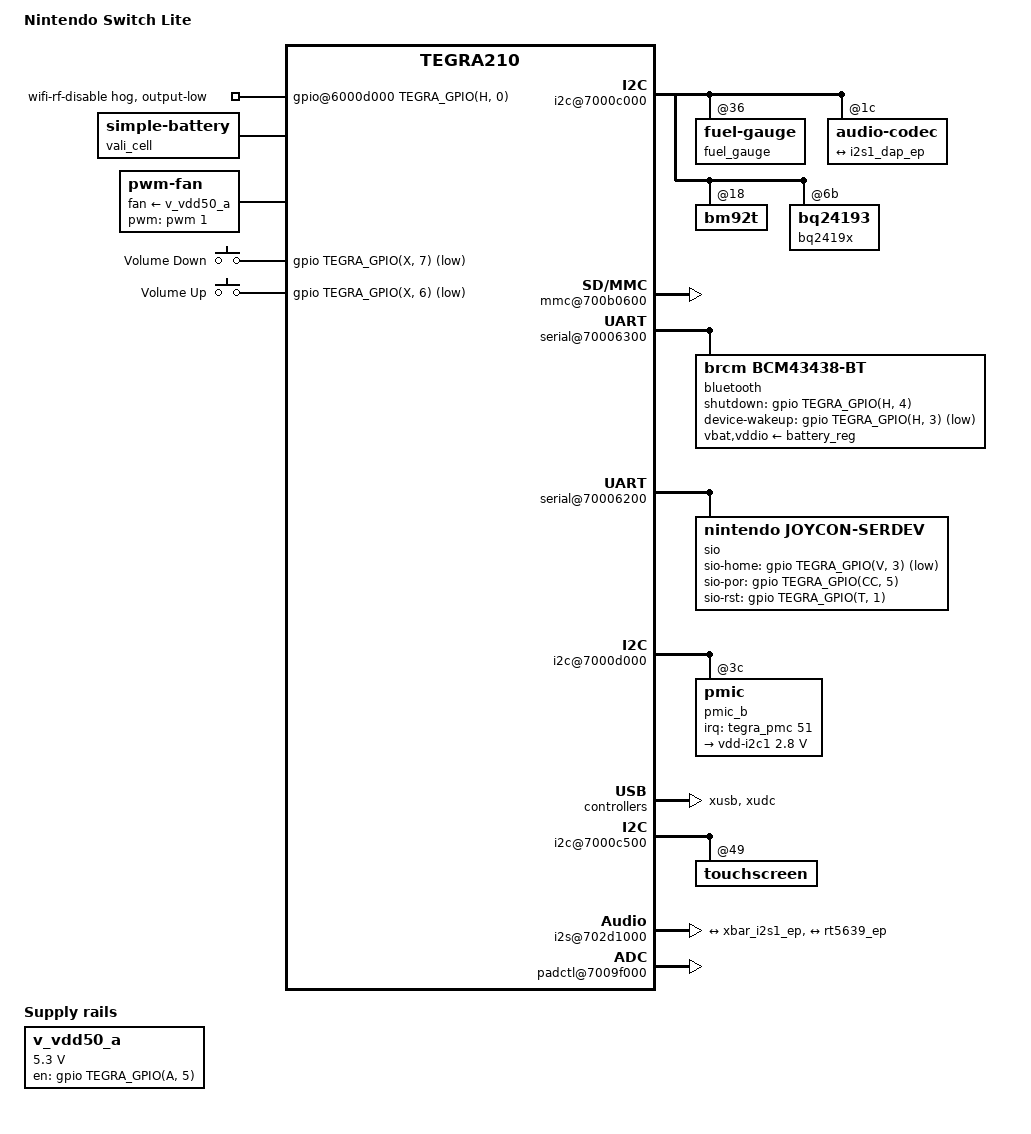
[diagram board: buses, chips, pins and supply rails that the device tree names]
// SPDX-License-Identifier: GPL-2.0
/dts-v1/;

#include <dt-bindings/input/linux-event-codes.h>

#include "tegra210b01-nx.dtsi"

/ {
	model = "Nintendo Switch Lite";
	compatible = "nvidia,vali", "nintendo,hoag", "nintendo,nx", "nvidia,tegra210b01", "nvidia,tegra210";

	i2c@7000c000 {
		fuel-gauge@36 {
			/* The gauge's status needs the charger power-supply relation. */
			power-supplies = <&{/i2c@7000c000/bq24193@6b}>;
		};
	};

	actmon@6000c800 {
		operating-points-v2 = <&vali_emc_bw_opp_table>;
	};

	gpu@57000000 {
		interconnects = <&mc TEGRA210_MC_GPUSRD &emc>,
				<&mc TEGRA210_MC_GPUSWR &emc>,
				<&mc TEGRA210_MC_GPUSRD2 &emc>,
				<&mc TEGRA210_MC_GPUSWR2 &emc>;
		interconnect-names = "dma-mem", "write-0", "read-1", "write-1";
	};

	/* Frequencies reported by this Lite's BPMP, retaining RAM2533. */
	vali_emc_bw_opp_table: opp-table-actmon-vali {
		compatible = "operating-points-v2";

		opp-204000000 {
			opp-hz = /bits/ 64 <204000000>;
			opp-peak-kBps = <3264000>;
			opp-supported-hw = <0x4>;
		};
		opp-1331200000 {
			opp-hz = /bits/ 64 <1331200000>;
			opp-peak-kBps = <21299200>;
			opp-supported-hw = <0x4>;
		};
		opp-1600000000 {
			opp-hz = /bits/ 64 <1600000000>;
			opp-peak-kBps = <25600000>;
			opp-supported-hw = <0x4>;
		};
		opp-2533000000 {
			opp-hz = /bits/ 64 <2533000000>;
			opp-peak-kBps = <40528000>;
			opp-supported-hw = <0x4>;
		};
	};

	/* serial-tegra refuses a port without an alias. */
	aliases {
		mmc0 = "/mmc@700b0000";
		mmc1 = "/mmc@700b0600";
		serial2 = &uartc;
		serial3 = &uartd;
	};

	/* eMMC, owner 02.11: visible for the swap partition of lean1018 only. boot.scr emmc=1 would also move the kernel load to eMMC, so emmc stays 0 in the ini. prep-fedora.sh sets the chip read-only. */
	mmc@700b0600 {
		status = "okay";
	};

	/*
	 * SD in DDR200 as on L4T/lean: the host clock is twice the card clock,
	 * 998.4/2.5 = 399.36 MHz from PLL_C4_OUT0, like lean. PLL_C4 keeps its
	 * rate, so the eMMC on PLL_C4_OUT2 is unaffected. A failed DDR200
	 * tuning falls back to SDR104 in the core.
	 * DDR200 runs in DDR50 timing, which uses the 1.8 V autocal offsets;
	 * lean runs it with PU/PD offset 6 (live AUTO_CAL_CONFIG 0x20010606),
	 * the Tegra210 0x7b weakened the pads and gave CRC errors.
	 */
	mmc@700b0000 {
		assigned-clocks = <&tegra_car TEGRA210_CLK_SDMMC1>;
		assigned-clock-parents = <&tegra_car TEGRA210_CLK_PLL_C4_OUT0>;
		nvidia,pad-autocal-pull-up-offset-1v8 = <0x06>;
		nvidia,pad-autocal-pull-down-offset-1v8 = <0x06>;
		nvidia,sd-ddr200;
		/* EMC floor while DDR200 transfers run, as L4T's 550 MHz request. */
		interconnects = <&mc TEGRA210_MC_SDMMCRA &emc>;
		interconnect-names = "dma-mem";
	};

    /* Joycon/Fan power (usb) */
	v_vdd50_b: v-vdd50-b {
		status = "disabled"; /* Only enabled on Odin/Modin */
	};

	en_vdd_jcl_chgr: left-joycon-charger {
		status = "disabled"; /* Only enabled on Odin/Modin/Fric */
	};

	en_vdd_jcr_chgr: right-joycon-charger {
		status = "disabled"; /* Only enabled on Odin/Modin/Fric */
	};

	/* Bluetooth */
	serial@70006300 {
		dma-names = "tx";
		status = "okay";
		compatible = "nvidia,tegra124-hsuart", "nvidia,tegra30-hsuart";
		reset-names = "serial";
		pinctrl-names = "default";
		pinctrl-0 = <&vali_bt_default>;

		bluetooth {
			compatible = "brcm,bcm43438-bt";
			vbat-supply = <&battery_reg>;
			vddio-supply = <&battery_reg>;
			shutdown-gpios = <&gpio TEGRA_GPIO(H, 4) GPIO_ACTIVE_HIGH>;
			device-wakeup-gpios = <&gpio TEGRA_GPIO(H, 3) GPIO_ACTIVE_LOW>;
			max-speed = <3000000>;
			sco-routing = <1>;
		};
	};

	/* Wi-Fi: L4T keeps RF Disable low; the reset line belongs to the PCIe driver. */
	pcie@1003000 {
		pinctrl-names = "default";
		pinctrl-0 = <&vali_wifi_default>;
	};

	gpio@6000d000 {
		wifi-rf-disable {
			gpio-hog;
			gpios = <TEGRA_GPIO(H, 0) GPIO_ACTIVE_HIGH>;
			output-low;
		};
	};

	vali_cell: vali-battery {
		compatible = "simple-battery";
		constant-charge-current-max-microamp = <1664000>;
		constant-charge-voltage-max-microvolt = <4208000>;
	};

	/* Fan power (battery). Maxim MAX8969EWL53+. */
	v_vdd50_a: v-vdd50-a {
		compatible = "regulator-fixed";
		regulator-name = "v_vdd50_a";
		regulator-min-microvolt = <5300000>;
		regulator-max-microvolt = <5300000>;
		gpio = <&gpio TEGRA_GPIO(A, 5) 0>;
		enable-active-high;
	};

	/* Duty is inverted (L4T polarity 1: 28774 of 33333 ns at pwm 35, i.e.
	 * (256 - pwm) / 256 of the period). The top level stays above 0, where
	 * pwm-fan would turn the output off. Levels are L4T pwm 0, 51, 77, 102,
	 * 128, 153, 204, 255 (0, 20 ... 100 %), the steps of the vendor curve.
	 */
	fan: pwm-fan {
		compatible = "pwm-fan";
		#cooling-cells = <2>;
		pwms = <&pwm 1 33333>;
		fan-supply = <&v_vdd50_a>;
		cooling-levels = <255 204 178 153 128 103 52 1>;
		pinctrl-names = "default";
		pinctrl-0 = <&vali_fan_default>;
	};

	spi@7000da00 {
		status = "disabled"; /* Disabled for Vali since Sio uses it */
	};

	/* Right Joycon */
	serial@70006040 {
		status = "disabled";

		joyconr {
			status = "disabled";
		};
	};

	/* Left Joycon / Sio */
	serial@70006200 {
		status = "okay";
		compatible = "nvidia,tegra124-hsuart", "nvidia,tegra30-hsuart";
		reset-names = "serial";
		pinctrl-names = "default";
		pinctrl-0 = <&vali_sio_default>;
		/* Sio runs from 4 MHz; only the platform parent applies assigned clocks. */
		assigned-clocks = <&tegra_car TEGRA210_CLK_EXTERN2>;
		assigned-clock-parents = <&tegra_car TEGRA210_CLK_PLL_P>;
		assigned-clock-rates = <4000000>;
		/delete-property/ nvidia,invert-txd;
		/delete-property/ nvidia,invert-rts;

		joyconl {
			status = "disabled";
		};

		/* clk_out_2 holds both the L4T mux and gate since it moved to the PMC. */
		sio {
			status = "okay";
			compatible = "nintendo,joycon-serdev";
			nintendo,sio;
			nintendo,sio-home-gpio = <&gpio TEGRA_GPIO(V, 3) 1>;
			nintendo,sio-por-gpio = <&gpio TEGRA_GPIO(CC, 5) 0>;
			nintendo,sio-rst-gpio = <&gpio TEGRA_GPIO(T, 1) 0>;
			clocks = <&tegra_pmc TEGRA_PMC_CLK_OUT_2>,
				 <&tegra_pmc TEGRA_PMC_CLK_OUT_2>,
				 <&tegra_car TEGRA210_CLK_EXTERN2>,
				 <&tegra_car TEGRA210_CLK_PLL_P>;
			clock-names = "sio_clk", "sio_pclk_mux", "sio_pclk", "sio_pclk_pll";
			sio-clock-rate = <4000000>;
			sio-stick-cnt-off-l = <0 0xFFFFFF00>;
			sio-stick-cnt-off-r = <0xFFFFFF00 0>;
		};
	};

	i2c@7000c000 {
		audio-codec@1c {
			pinctrl-names = "default";
			pinctrl-0 = <&vali_codec_default>;
			clocks = <&tegra_pmc TEGRA_PMC_CLK_OUT_1>;
			clock-names = "mclk";
			realtek,speaker-eq;
			assigned-clocks = <&tegra_pmc TEGRA_PMC_CLK_OUT_1>;
			assigned-clock-parents = <&tegra_car TEGRA210_CLK_EXTERN1>;

			port {
				rt5639_ep: endpoint {
					remote-endpoint = <&i2s1_dap_ep>;
					mclk-fs = <256>;
				};
			};
		};

		bm92t: bm92t@18 {
			status = "okay";
			interrupts = <TEGRA_GPIO(K, 4) IRQ_TYPE_LEVEL_LOW>;
			pinctrl-names = "default";
			pinctrl-0 = <&vali_bm92_irq_default>;
			/delete-property/ rohm,dp-signal-toggle-on-resume;
			rohm,dp-disable;
			rohm,pd-5v-current-limit-ma = <2000>;
			rohm,pd-9v-current-limit-ma = <1500>;
			rohm,pd-12v-current-limit-ma = <1200>;
			rohm,pd-15v-current-limit-ma = <900>;
			/* The driver reads only these names; the -ma ones above it were ignored. */
			rohm,pd-5v-input-current-limit-microamp = <2000000>;
			rohm,pd-9v-input-current-limit-microamp = <1500000>;
			rohm,pd-12v-input-current-limit-microamp = <1200000>;
			rohm,pd-15v-input-current-limit-microamp = <900000>;
		};

		bq2419x: bq24193@6b {
			/* bq24190 takes limits only from a simple-battery; default would be 2048 mA. */
			monitored-battery = <&vali_cell>;
			battery_charger: charger {
				ti,charge-voltage-limit-millivolt = <4320>; /* Adjusted by cell age */
				ti,fast-charge-current-limit-milliamp = <1664>;
				ti,temp-range = <0 18 47 58>;
				ti,charge-thermal-voltage-limit = <4320 4320 4320 4080>; /* Adjusted by cell age */
				ti,charge-current-limit = <512 640 1664 1664>;
			};
		};

		fuel_gauge: fuel-gauge@36 {
			/* ALRT stayed asserted while charging and held CPU0 in the GPIO handler at boot. */
			/delete-property/ interrupts;
			/delete-property/ interrupt-parent;
			maxim,over-volt = <4320>; /* Actual: 4370 mV */
			maxim,kernel-maximum-soc = <100>; /* Adjusted by cell age */
		};
	};

	i2c@7000d000 {
		pmic_b: pmic@3c {
			/* Wake 51 reaches the PMC: the button must wake SC7 */
			interrupt-parent = <&tegra_pmc>;
			interrupts = <51 IRQ_TYPE_LEVEL_LOW>;
			maxim,system-pmic-power-off;

			regulators {
				/* Vali: Powers LDO 2V8 for Sio VDD
				 * Powers LDO 1V8 for I2C1 VDDQ and ALC5639.
				 */
				ldo8 {
					regulator-name = "vdd-i2c1";
					regulator-max-microvolt = <2800000>;
					regulator-always-on;
					regulator-boot-on;
				};
			};
		};
	};

	i2c@546c0000 {
		bus-pullup-supply = <&battery_reg>;
	};

	host1x@50000000 {
		/* tegradc.1: DP */
		dc@54240000 {
			status = "disabled";
		};
	};

	xusb: usb@70090000 {
		status = "okay";

		phys = <&{/padctl@7009f000/pads/usb2/lanes/usb2-0}>;
		phy-names = "usb2-0";

		extcon = <&bm92t 0>;
		extcon-cable-names = "vbus";

		avdd-usb-supply = <&vdd_3v3>;
		dvddio-pex-supply = <&max77620_ldo1>;
		hvddio-pex-supply = <&max77620_sd3>;
	};

	xudc: usb@700d0000 {
		status = "okay";

		phys = <&{/padctl@7009f000/pads/usb2/lanes/usb2-0}>;
		phy-names = "usb2-0";

		extcon = <&bm92t 1>;
		extcon-cable-names = "id";

		hvdd-usb-supply = <&vdd_3v3>;
		avddio-usb-supply = <&max77620_ldo1>;
	};

	pinmux@700008d4 {
		/* SD pins and pad as L4T/lean leaves them for DDR200 (live registers 07.11). */
		pinctrl-names = "default";
		pinctrl-0 = <&vali_sdmmc1_default>;

		vali_sdmmc1_default: vali-sdmmc1-default {
			sdmmc1_clk_pm0 {
				nvidia,pins = "sdmmc1_clk_pm0";
				nvidia,pull = <TEGRA_PIN_PULL_NONE>;
			};

			sdmmc1_cmd_dat {
				nvidia,pins = "sdmmc1_cmd_pm1", "sdmmc1_dat3_pm2",
					      "sdmmc1_dat2_pm3", "sdmmc1_dat1_pm4";
				nvidia,drive-type = <3>;
			};

			drive_sdmmc1 {
				nvidia,pins = "drive_sdmmc1";
				nvidia,slew-rate-rising = <1>;
				nvidia,slew-rate-falling = <1>;
			};
		};

		vali_touch_irq_default: vali-touch-irq-default {
			gen3_i2c_scl_pf0 {
				nvidia,pins = "gen3_i2c_scl_pf0";
				nvidia,function = "i2c3";
				nvidia,pull = <TEGRA_PIN_PULL_NONE>;
				nvidia,tristate = <TEGRA_PIN_DISABLE>;
				nvidia,enable-input = <TEGRA_PIN_ENABLE>;
				nvidia,io-hv = <TEGRA_PIN_DISABLE>;
			};

			gen3_i2c_sda_pf1 {
				nvidia,pins = "gen3_i2c_sda_pf1";
				nvidia,function = "i2c3";
				nvidia,pull = <TEGRA_PIN_PULL_NONE>;
				nvidia,tristate = <TEGRA_PIN_DISABLE>;
				nvidia,enable-input = <TEGRA_PIN_ENABLE>;
				nvidia,io-hv = <TEGRA_PIN_DISABLE>;
			};

			/* Disconnect the unused I2C3 input pair left selected by warm boot. */
			cam_i2c_scl_ps2 {
				nvidia,pins = "cam_i2c_scl_ps2";
				nvidia,function = "rsvd2";
				nvidia,pull = <TEGRA_PIN_PULL_DOWN>;
				nvidia,tristate = <TEGRA_PIN_ENABLE>;
				nvidia,enable-input = <TEGRA_PIN_DISABLE>;
				nvidia,io-hv = <TEGRA_PIN_ENABLE>;
			};

			/* Gamecard detect; keep its L4T GPIO input setup. */
			cam_i2c_sda_ps3 {
				nvidia,pins = "cam_i2c_sda_ps3";
				nvidia,function = "rsvd2";
				nvidia,pull = <TEGRA_PIN_PULL_UP>;
				nvidia,tristate = <TEGRA_PIN_ENABLE>;
				nvidia,enable-input = <TEGRA_PIN_ENABLE>;
				nvidia,io-hv = <TEGRA_PIN_DISABLE>;
			};

			dap4_sclk_pj7 {
				nvidia,pins = "dap4_sclk_pj7";
				nvidia,function = "rsvd1";
				nvidia,pull = <TEGRA_PIN_PULL_DOWN>;
				nvidia,tristate = <TEGRA_PIN_DISABLE>;
				nvidia,enable-input = <TEGRA_PIN_DISABLE>;
			};

			touch_rst_pv6 {
				nvidia,pins = "touch_rst_pv6";
				nvidia,function = "rsvd0";
				nvidia,pull = <TEGRA_PIN_PULL_NONE>;
				nvidia,tristate = <TEGRA_PIN_ENABLE>;
				nvidia,enable-input = <TEGRA_PIN_ENABLE>;
			};

			touch_int_px1 {
				nvidia,pins = "touch_int_px1";
				nvidia,function = "rsvd0";
				nvidia,pull = <TEGRA_PIN_PULL_UP>;
				nvidia,tristate = <TEGRA_PIN_ENABLE>;
				nvidia,enable-input = <TEGRA_PIN_ENABLE>;
			};
		};

		vali_bm92_irq_default: vali-bm92-irq-default {
			pk4 {
				nvidia,pins = "pk4";
				nvidia,function = "rsvd1";
				nvidia,pull = <TEGRA_PIN_PULL_UP>;
				nvidia,tristate = <TEGRA_PIN_ENABLE>;
				nvidia,enable-input = <TEGRA_PIN_ENABLE>;
			};
		};

		vali_wifi_default: vali-wifi-default {
			wifi_en_ph0 {
				nvidia,pins = "wifi_en_ph0";
				nvidia,function = "rsvd0";
				nvidia,pull = <TEGRA_PIN_PULL_DOWN>;
				nvidia,tristate = <TEGRA_PIN_DISABLE>;
				nvidia,enable-input = <TEGRA_PIN_DISABLE>;
			};

			wifi_rst_ph1 {
				nvidia,pins = "wifi_rst_ph1";
				nvidia,function = "rsvd0";
				nvidia,pull = <TEGRA_PIN_PULL_DOWN>;
				nvidia,tristate = <TEGRA_PIN_DISABLE>;
				nvidia,enable-input = <TEGRA_PIN_DISABLE>;
			};

			wifi_wake_ap_ph2 {
				nvidia,pins = "wifi_wake_ap_ph2";
				nvidia,function = "rsvd0";
				nvidia,pull = <TEGRA_PIN_PULL_DOWN>;
				nvidia,tristate = <TEGRA_PIN_ENABLE>;
				nvidia,enable-input = <TEGRA_PIN_ENABLE>;
			};

			pex_l0_rst_n_pa0 {
				nvidia,pins = "pex_l0_rst_n_pa0";
				nvidia,function = "pe0";
				nvidia,pull = <TEGRA_PIN_PULL_NONE>;
				nvidia,tristate = <TEGRA_PIN_DISABLE>;
				nvidia,enable-input = <TEGRA_PIN_DISABLE>;
			};

			pex_l0_clkreq_n_pa1 {
				nvidia,pins = "pex_l0_clkreq_n_pa1";
				nvidia,function = "pe0";
				nvidia,pull = <TEGRA_PIN_PULL_NONE>;
				nvidia,tristate = <TEGRA_PIN_ENABLE>;
				nvidia,enable-input = <TEGRA_PIN_DISABLE>;
			};

			pex_wake_n_pa2 {
				nvidia,pins = "pex_wake_n_pa2";
				nvidia,function = "pe";
				nvidia,pull = <TEGRA_PIN_PULL_NONE>;
				nvidia,tristate = <TEGRA_PIN_ENABLE>;
				nvidia,enable-input = <TEGRA_PIN_ENABLE>;
			};

			pex_l1_rst_n_pa3 {
				nvidia,pins = "pex_l1_rst_n_pa3";
				nvidia,function = "pe1";
				nvidia,pull = <TEGRA_PIN_PULL_NONE>;
				nvidia,tristate = <TEGRA_PIN_DISABLE>;
				nvidia,enable-input = <TEGRA_PIN_DISABLE>;
			};

			pex_l1_clkreq_n_pa4 {
				nvidia,pins = "pex_l1_clkreq_n_pa4";
				nvidia,function = "pe1";
				nvidia,pull = <TEGRA_PIN_PULL_NONE>;
				nvidia,tristate = <TEGRA_PIN_DISABLE>;
				nvidia,enable-input = <TEGRA_PIN_ENABLE>;
			};
		};

		vali_bt_default: vali-bt-default {
			uart4_tx_pi4 {
				nvidia,pins = "uart4_tx_pi4";
				nvidia,function = "uartd";
				nvidia,pull = <TEGRA_PIN_PULL_NONE>;
				nvidia,tristate = <TEGRA_PIN_DISABLE>;
				nvidia,enable-input = <TEGRA_PIN_DISABLE>;
			};

			uart4_rx_pi5 {
				nvidia,pins = "uart4_rx_pi5";
				nvidia,function = "uartd";
				nvidia,pull = <TEGRA_PIN_PULL_DOWN>;
				nvidia,tristate = <TEGRA_PIN_ENABLE>;
				nvidia,enable-input = <TEGRA_PIN_ENABLE>;
			};

			uart4_rts_pi6 {
				nvidia,pins = "uart4_rts_pi6";
				nvidia,function = "uartd";
				nvidia,pull = <TEGRA_PIN_PULL_NONE>;
				nvidia,tristate = <TEGRA_PIN_DISABLE>;
				nvidia,enable-input = <TEGRA_PIN_DISABLE>;
			};

			uart4_cts_pi7 {
				nvidia,pins = "uart4_cts_pi7";
				nvidia,function = "uartd";
				nvidia,pull = <TEGRA_PIN_PULL_DOWN>;
				nvidia,tristate = <TEGRA_PIN_ENABLE>;
				nvidia,enable-input = <TEGRA_PIN_ENABLE>;
			};

			ap_wake_bt_ph3 {
				nvidia,pins = "ap_wake_bt_ph3";
				nvidia,function = "rsvd0";
				nvidia,pull = <TEGRA_PIN_PULL_DOWN>;
				nvidia,tristate = <TEGRA_PIN_DISABLE>;
				nvidia,enable-input = <TEGRA_PIN_DISABLE>;
			};

			bt_rst_ph4 {
				nvidia,pins = "bt_rst_ph4";
				nvidia,function = "rsvd0";
				nvidia,pull = <TEGRA_PIN_PULL_DOWN>;
				nvidia,tristate = <TEGRA_PIN_DISABLE>;
				nvidia,enable-input = <TEGRA_PIN_DISABLE>;
			};

			bt_wake_ap_ph5 {
				nvidia,pins = "bt_wake_ap_ph5";
				nvidia,function = "rsvd0";
				nvidia,pull = <TEGRA_PIN_PULL_NONE>;
				nvidia,tristate = <TEGRA_PIN_ENABLE>;
				nvidia,enable-input = <TEGRA_PIN_ENABLE>;
			};
		};

		vali_fan_default: vali-fan-default {
			lcd_gpio2_pv4 {
				nvidia,pins = "lcd_gpio2_pv4";
				nvidia,function = "pwm1";
				nvidia,pull = <TEGRA_PIN_PULL_NONE>;
				nvidia,tristate = <TEGRA_PIN_DISABLE>;
				nvidia,enable-input = <TEGRA_PIN_DISABLE>;
			};

			pa5 {
				nvidia,pins = "pa5";
				nvidia,function = "rsvd1";
				nvidia,pull = <TEGRA_PIN_PULL_NONE>;
				nvidia,tristate = <TEGRA_PIN_DISABLE>;
				nvidia,enable-input = <TEGRA_PIN_DISABLE>;
			};

			cam1_pwdn_ps7 {
				nvidia,pins = "cam1_pwdn_ps7";
				nvidia,function = "rsvd1";
				nvidia,pull = <TEGRA_PIN_PULL_NONE>;
				nvidia,tristate = <TEGRA_PIN_ENABLE>;
				nvidia,enable-input = <TEGRA_PIN_ENABLE>;
			};
		};

		vali_sio_default: vali-sio-default {
			uart3_tx_pd1 {
				nvidia,pins = "uart3_tx_pd1";
				nvidia,function = "uartc";
				nvidia,pull = <TEGRA_PIN_PULL_NONE>;
				nvidia,tristate = <TEGRA_PIN_DISABLE>;
				nvidia,enable-input = <TEGRA_PIN_DISABLE>;
			};

			uart3_rx_pd2 {
				nvidia,pins = "uart3_rx_pd2";
				nvidia,function = "uartc";
				nvidia,pull = <TEGRA_PIN_PULL_NONE>;
				nvidia,tristate = <TEGRA_PIN_ENABLE>;
				nvidia,enable-input = <TEGRA_PIN_ENABLE>;
			};

			uart3_rts_pd3 {
				nvidia,pins = "uart3_rts_pd3";
				nvidia,function = "uartc";
				nvidia,pull = <TEGRA_PIN_PULL_NONE>;
				nvidia,tristate = <TEGRA_PIN_DISABLE>;
				nvidia,enable-input = <TEGRA_PIN_DISABLE>;
			};

			uart3_cts_pd4 {
				nvidia,pins = "uart3_cts_pd4";
				nvidia,function = "uartc";
				nvidia,pull = <TEGRA_PIN_PULL_UP>;
				nvidia,tristate = <TEGRA_PIN_ENABLE>;
				nvidia,enable-input = <TEGRA_PIN_ENABLE>;
			};

			usb_vbus_en1_pcc5 {
				nvidia,pins = "usb_vbus_en1_pcc5";
				nvidia,function = "rsvd1";
				nvidia,pull = <TEGRA_PIN_PULL_NONE>;
				nvidia,tristate = <TEGRA_PIN_DISABLE>;
				nvidia,enable-input = <TEGRA_PIN_DISABLE>;
				nvidia,io-hv = <TEGRA_PIN_ENABLE>;
			};

			cam2_pwdn_pt0 {
				nvidia,pins = "cam2_pwdn_pt0";
				nvidia,function = "rsvd1";
				nvidia,pull = <TEGRA_PIN_PULL_DOWN>;
				nvidia,tristate = <TEGRA_PIN_DISABLE>;
				nvidia,enable-input = <TEGRA_PIN_DISABLE>;
			};

			cam1_strobe_pt1 {
				nvidia,pins = "cam1_strobe_pt1";
				nvidia,function = "rsvd1";
				nvidia,pull = <TEGRA_PIN_PULL_DOWN>;
				nvidia,tristate = <TEGRA_PIN_DISABLE>;
				nvidia,enable-input = <TEGRA_PIN_DISABLE>;
			};

			touch_clk_pv7 {
				nvidia,pins = "touch_clk_pv7";
				nvidia,function = "touch";
				nvidia,pull = <TEGRA_PIN_PULL_DOWN>;
				nvidia,tristate = <TEGRA_PIN_DISABLE>;
				nvidia,enable-input = <TEGRA_PIN_DISABLE>;
			};

			pe7 {
				nvidia,pins = "pe7";
				nvidia,function = "rsvd0";
				nvidia,pull = <TEGRA_PIN_PULL_UP>;
				nvidia,tristate = <TEGRA_PIN_ENABLE>;
				nvidia,enable-input = <TEGRA_PIN_ENABLE>;
			};

			lcd_gpio1_pv3 {
				nvidia,pins = "lcd_gpio1_pv3";
				nvidia,function = "rsvd1";
				nvidia,pull = <TEGRA_PIN_PULL_UP>;
				nvidia,tristate = <TEGRA_PIN_ENABLE>;
				nvidia,enable-input = <TEGRA_PIN_ENABLE>;
			};
		};

		vali_codec_default: vali-codec-default {
			pz4 {
				nvidia,pins = "pz4";
				nvidia,function = "rsvd1";
				nvidia,pull = <TEGRA_PIN_PULL_DOWN>;
				nvidia,tristate = <TEGRA_PIN_DISABLE>;
				nvidia,enable-input = <TEGRA_PIN_DISABLE>;
			};

			aud_mclk_pbb0 {
				nvidia,pins = "aud_mclk_pbb0";
				nvidia,function = "aud";
				nvidia,pull = <TEGRA_PIN_PULL_NONE>;
				nvidia,tristate = <TEGRA_PIN_DISABLE>;
				nvidia,enable-input = <TEGRA_PIN_DISABLE>;
			};

			dap1_fs_pb0 {
				nvidia,pins = "dap1_fs_pb0";
				nvidia,function = "i2s1";
				nvidia,pull = <TEGRA_PIN_PULL_NONE>;
				nvidia,tristate = <TEGRA_PIN_DISABLE>;
				nvidia,enable-input = <TEGRA_PIN_DISABLE>;
			};

			dap1_din_pb1 {
				nvidia,pins = "dap1_din_pb1";
				nvidia,function = "i2s1";
				nvidia,pull = <TEGRA_PIN_PULL_DOWN>;
				nvidia,tristate = <TEGRA_PIN_ENABLE>;
				nvidia,enable-input = <TEGRA_PIN_ENABLE>;
			};

			dap1_dout_pb2 {
				nvidia,pins = "dap1_dout_pb2";
				nvidia,function = "i2s1";
				nvidia,pull = <TEGRA_PIN_PULL_NONE>;
				nvidia,tristate = <TEGRA_PIN_DISABLE>;
				nvidia,enable-input = <TEGRA_PIN_DISABLE>;
			};

			dap1_sclk_pb3 {
				nvidia,pins = "dap1_sclk_pb3";
				nvidia,function = "i2s1";
				nvidia,pull = <TEGRA_PIN_PULL_NONE>;
				nvidia,tristate = <TEGRA_PIN_DISABLE>;
				nvidia,enable-input = <TEGRA_PIN_DISABLE>;
			};
		};
	};

	/* FTM4 touchscreen IRQ is active-low and requires a pull-up. */
	i2c@7000c500 {
		touchscreen@49 {
			status = "okay";
			pinctrl-names = "default";
			pinctrl-0 = <&vali_touch_irq_default>;
		};
	};

	/* Hardware path when the kernel is stuck: same PMIC soft reset as r2p. */
	pmc@7000e400 {
		i2c-thermtrip {
			nvidia,i2c-controller-id = <4>;
			nvidia,bus-addr = <0x3c>;
			nvidia,reg-addr = <0x41>;
			nvidia,reg-data = <0x80>;
		};
	};

	gpu_voltage_cdev: gpu-voltage-cdev {
		compatible = "nvidia,tegra210-rail-scaling-cdev";
		#cooling-cells = <2>;
	};

	/* The fan follows the vendor (L4T/HOS) Vali tskin estimate from the TMP451,
	 * not the fast on-die CPU/GPU sensors: those jump at every game start and
	 * drove the fan to full speed. On-die zones keep only an 80 C fan backstop.
	 */
	thermal-zones {
		/* L4T-only zones without a mainline sensor. Any sensor-less zone makes
		 * the OF zone lookup fail, so lm90 (TMP451) did not probe at all.
		 */
		/delete-node/ PLL-therm;
		/delete-node/ Tboard_tegra;
		/delete-node/ Tdiode_tegra;
		/delete-node/ AO-therm;

		/* L4T therm_tskin_fan_est, Vali coefficients, Console profile:
		 * tskin = max(0.5235 * Tdiode + 20.48, 0.5594 * Tboard + 21.46) C,
		 * fan pwm 51 from 36, linear 51..153 over 43..53, 153..255 over
		 * 53..58 tskin. L4T programs a -12.5 C diode offset; Linux leaves
		 * the chip register at 0, so the remote trips below are raw diode
		 * readings (L4T Tdiode + 12.5). Each trip is where the vendor curve
		 * reaches that fan level.
		 */
		soc-diode-thermal {
			polling-delay-passive = <1000>;
			polling-delay = <1000>;
			thermal-sensors = <&tmp451 1>;
			trips {
				soc_fan1: soc-fan1 {
					temperature = <42500>;
					hysteresis = <3000>;
					type = "active";
				};
				soc_fan2: soc-fan2 {
					temperature = <60500>;
					hysteresis = <3000>;
					type = "active";
				};
				soc_fan3: soc-fan3 {
					temperature = <65000>;
					hysteresis = <3000>;
					type = "active";
				};
				soc_fan4: soc-fan4 {
					temperature = <70000>;
					hysteresis = <3000>;
					type = "active";
				};
				soc_fan5: soc-fan5 {
					temperature = <74500>;
					hysteresis = <3000>;
					type = "active";
				};
				soc_fan6: soc-fan6 {
					temperature = <79500>;
					hysteresis = <3000>;
					type = "active";
				};
				soc_fan7: soc-fan7 {
					temperature = <84000>;
					hysteresis = <3000>;
					type = "active";
				};
			};
			cooling-maps {
				fan-map1 {
					trip = <&soc_fan1>;
					cooling-device = <&fan 1 1>;
				};
				fan-map2 {
					trip = <&soc_fan2>;
					cooling-device = <&fan 2 2>;
				};
				fan-map3 {
					trip = <&soc_fan3>;
					cooling-device = <&fan 3 3>;
				};
				fan-map4 {
					trip = <&soc_fan4>;
					cooling-device = <&fan 4 4>;
				};
				fan-map5 {
					trip = <&soc_fan5>;
					cooling-device = <&fan 5 5>;
				};
				fan-map6 {
					trip = <&soc_fan6>;
					cooling-device = <&fan 6 6>;
				};
				fan-map7 {
					trip = <&soc_fan7>;
					cooling-device = <&fan 7 7>;
				};
			};
		};

		/* TMP451 local sensor = L4T Tboard (PCB). */
		board-thermal {
			polling-delay-passive = <1000>;
			polling-delay = <1000>;
			thermal-sensors = <&tmp451 0>;
			trips {
				board_fan1: board-fan1 {
					temperature = <26500>;
					hysteresis = <3000>;
					type = "active";
				};
				board_fan2: board-fan2 {
					temperature = <43000>;
					hysteresis = <3000>;
					type = "active";
				};
				board_fan3: board-fan3 {
					temperature = <47500>;
					hysteresis = <3000>;
					type = "active";
				};
				board_fan4: board-fan4 {
					temperature = <52000>;
					hysteresis = <3000>;
					type = "active";
				};
				board_fan5: board-fan5 {
					temperature = <56500>;
					hysteresis = <3000>;
					type = "active";
				};
				board_fan6: board-fan6 {
					temperature = <61000>;
					hysteresis = <3000>;
					type = "active";
				};
				board_fan7: board-fan7 {
					temperature = <65500>;
					hysteresis = <3000>;
					type = "active";
				};
			};
			cooling-maps {
				fan-map1 {
					trip = <&board_fan1>;
					cooling-device = <&fan 1 1>;
				};
				fan-map2 {
					trip = <&board_fan2>;
					cooling-device = <&fan 2 2>;
				};
				fan-map3 {
					trip = <&board_fan3>;
					cooling-device = <&fan 3 3>;
				};
				fan-map4 {
					trip = <&board_fan4>;
					cooling-device = <&fan 4 4>;
				};
				fan-map5 {
					trip = <&board_fan5>;
					cooling-device = <&fan 5 5>;
				};
				fan-map6 {
					trip = <&board_fan6>;
					cooling-device = <&fan 6 6>;
				};
				fan-map7 {
					trip = <&board_fan7>;
					cooling-device = <&fan 7 7>;
				};
			};
		};

		cpu-thermal {
			polling-delay = <1000>;
			trips {
				/* Vendor cold floor ends at 20C. Keep a conservative
				 * 10C margin when using the calibrated on-die CPU group
				 * instead of the unbound legacy Tdiode_tegra zone.
				 */
				cpu_dfll_warm: dfll-warm {
					temperature = <30000>;
					hysteresis = <2000>;
					type = "active";
				};
				throttle-trip {
					temperature = <90000>; /* Hardware throttle, far above game temperatures */
				};
				/* Backstop only, if the TMP451 zone is missing. */
				cpu_fan_max: cpu-fan-max {
					temperature = <80000>;
					hysteresis = <5000>;
					type = "active";
				};
			};
			cooling-maps {
				dfll-floor-map {
					trip = <&cpu_dfll_warm>;
					cooling-device = <&dfll_floor 1 1>;
				};
				fan-map-max {
					trip = <&cpu_fan_max>;
					cooling-device = <&fan 7 7>;
				};
			};
		};

		gpu-thermal {
			polling-delay = <1000>;
			trips {
				gpu_voltage_trip1: voltage-range1 {
					temperature = <20000>;
					hysteresis = <2000>;
					type = "active";
				};
				gpu_voltage_trip2: voltage-range2 {
					temperature = <30000>;
					hysteresis = <2000>;
					type = "active";
				};
				gpu_voltage_trip3: voltage-range3 {
					temperature = <50000>;
					hysteresis = <2000>;
					type = "active";
				};
				gpu_voltage_trip4: voltage-range4 {
					temperature = <70000>;
					hysteresis = <2000>;
					type = "active";
				};
				gpu_voltage_trip5: voltage-range5 {
					temperature = <90000>;
					hysteresis = <2000>;
					type = "active";
				};
				throttle-trip {
					temperature = <90000>;
				};
				/* Backstop only, if the TMP451 zone is missing. */
				gpu_fan_max: gpu-fan-max {
					temperature = <80000>;
					hysteresis = <5000>;
					type = "active";
				};
			};
			cooling-maps {
				voltage-map1 {
					trip = <&gpu_voltage_trip1>;
					cooling-device = <&gpu_voltage_cdev 1 1>;
				};
				voltage-map2 {
					trip = <&gpu_voltage_trip2>;
					cooling-device = <&gpu_voltage_cdev 2 2>;
				};
				voltage-map3 {
					trip = <&gpu_voltage_trip3>;
					cooling-device = <&gpu_voltage_cdev 3 3>;
				};
				voltage-map4 {
					trip = <&gpu_voltage_trip4>;
					cooling-device = <&gpu_voltage_cdev 4 4>;
				};
				voltage-map5 {
					trip = <&gpu_voltage_trip5>;
					cooling-device = <&gpu_voltage_cdev 5 5>;
				};
				fan-map-max {
					trip = <&gpu_fan_max>;
					cooling-device = <&fan 7 7>;
				};
			};
		};
	};

	aconnect@702c0000 {
		status = "okay";
		/* The boot default leaves APE on clk_m at 19.2 MHz. */
		assigned-clocks = <&tegra_car TEGRA210_CLK_APE>;
		assigned-clock-parents = <&tegra_car TEGRA210_CLK_PLL_P>;
		assigned-clock-rates = <300000000>;

		ahub@702d0800 {
			status = "okay";

			admaif@702d0000 {
				status = "okay";
			};

			i2s@702d1000 {
				status = "okay";

				ports {
					#address-cells = <1>;
					#size-cells = <0>;

					port@0 {
						reg = <0>;

						i2s1_cif_ep: endpoint {
							remote-endpoint = <&xbar_i2s1_ep>;
						};
					};

					i2s1_port: port@1 {
						reg = <1>;

						i2s1_dap_ep: endpoint {
							dai-format = "i2s";
							remote-endpoint = <&rt5639_ep>;
						};
					};
				};
			};

			ports {
				xbar_i2s1_port: port@a {
					reg = <0xa>;

					xbar_i2s1_ep: endpoint {
						remote-endpoint = <&i2s1_cif_ep>;
					};
				};
			};
		};

		dma-controller@702e2000 {
			status = "okay";
		};

		interrupt-controller@702f9000 {
			status = "okay";
		};
	};

	sound {
		compatible = "nvidia,tegra210-audio-graph-card";
		status = "okay";
		label = "Nintendo Switch Lite";

		dais = <&admaif1_port>, <&admaif2_port>, <&xbar_i2s1_port>, <&i2s1_port>;

		widgets = "Headphone", "Headphones",
			  "Speaker", "Speakers",
			  "Microphone", "Mic Jack";
		/* The DAP link is built with a dummy codec: I2S and RT5639 are joined here. */
		routing = "AIF1 Playback", "I2S1 DAP-Playback",
			  "I2S1 DAP-Capture", "AIF1 Capture",
			  "Headphones", "HPOL",
			  "Headphones", "HPOR",
			  "Speakers", "SPORP",
			  "Speakers", "SPORN",
			  "Speakers", "SPOLP",
			  "Speakers", "SPOLN",
			  "IN1P", "Mic Jack";
	};

	/* The rails behind these pads are 1.8 V, the reset state is the 3.3 V mode. */
	pmc@7000e400 {
		pinctrl-names = "default";
		pinctrl-0 = <&vali_io_pads_1v8>;

		pinmux {
			vali_io_pads_1v8: vali-io-pads-1v8 {
				pins = "audio", "audio-hv", "cam", "dbg", "dmic", "gpio",
				       "pex-cntrl", "sdmmc3", "spi", "spi-hv", "uart";
				power-source = <TEGRA_IO_PAD_VOLTAGE_1V8>;
			};
		};
	};

	gpio-keys {
		compatible = "gpio-keys";

		key-volume-down {
			label = "Volume Down";
			gpios = <&gpio TEGRA_GPIO(X, 7) GPIO_ACTIVE_LOW>;
			linux,code = <KEY_VOLUMEDOWN>;
			debounce-interval = <16>;
		};

		key-volume-up {
			label = "Volume Up";
			gpios = <&gpio TEGRA_GPIO(X, 6) GPIO_ACTIVE_LOW>;
			linux,code = <KEY_VOLUMEUP>;
			debounce-interval = <16>;
		};
	};

	/* Reboot back into Hekate with a chosen entry; the driver matches this node. */
	r2p {
		compatible = "tegra-r2p";
		status = "okay";
	};

	padctl@7009f000 {
		status =  "okay";

		avdd-pll-utmip-supply = <&max77620_sd3>;
		avdd-pll-uerefe-supply = <&max77620_ldo1>;
		dvdd-pex-pll-supply = <&max77620_ldo1>;
		hvdd-pex-pll-e-supply = <&max77620_sd3>;

		/* USB2 only, as Hekate's usb3_enable=0 does for L4T: Lite enumerates at 480 Mbit/s. */
		ports {
			usb3-0 {
				status = "disabled";
			};
		};
	};
};
